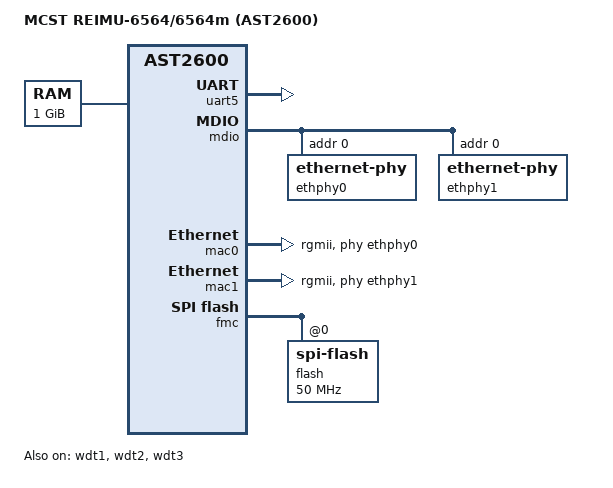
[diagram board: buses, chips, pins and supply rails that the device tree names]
/dts-v1/;

#include "ast2600-u-boot.dtsi"

/ {
        model = "MCST REIMU-6564/6564m (AST2600)";
        compatible = "mcst,reimu-6564x", "aspeed,ast2600";

	memory {
		device_type = "memory";
		reg = <0x80000000 0x40000000>;
	};

	chosen {
		stdout-path = &uart5;
	};

	aliases {
		spi0 = &fmc;
		ethernet0 = &mac0;
		ethernet1 = &mac1;
	};

	cpus {
		cpu@0 {
			clock-frequency = <800000000>;
		};
		cpu@1 {
			clock-frequency = <800000000>;
		};
	};
};

&uart5 {
	u-boot,dm-pre-reloc;
	status = "okay";
};

&sdrammc {
	clock-frequency = <400000000>;
};

&wdt1 {
	status = "okay";
};

&wdt2 {
	status = "okay";
};

&wdt3 {
	status = "okay";
};

&mdio {
	status = "okay";
	pinctrl-names = "default";
	pinctrl-0 = <	&pinctrl_mdio1_default &pinctrl_mdio2_default
			&pinctrl_mdio3_default &pinctrl_mdio4_default>;
	#address-cells = <1>;
	#size-cells = <0>;
	ethphy0: ethernet-phy@0 {
		reg = <0>;
	};

	ethphy1: ethernet-phy@1 {
		reg = <0>;
	};
};

&mac0 {
	status = "okay";
	phy-mode = "rgmii";
	phy-handle = <&ethphy0>;
	pinctrl-names = "default";
	pinctrl-0 = <&pinctrl_rgmii1_default &pinctrl_mac1link_default>;
};

&mac1 {
	status = "okay";
	phy-mode = "rgmii";
	phy-handle = <&ethphy1>;
	pinctrl-names = "default";
	pinctrl-0 = <&pinctrl_rgmii2_default &pinctrl_mac2link_default>;
};

&fmc {
	status = "okay";

	pinctrl-names = "default";
	pinctrl-0 = <&pinctrl_fmcquad_default>;

	flash@0 {
		compatible = "spi-flash", "sst,w25q256";
		status = "okay";
		spi-max-frequency = <50000000>;
		spi-tx-bus-width = <4>;
		spi-rx-bus-width = <4>;
	};
};
